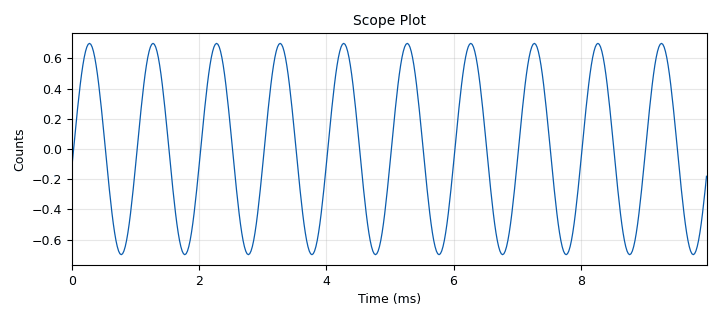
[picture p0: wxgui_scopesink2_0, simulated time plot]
<?xml version='1.0' encoding='utf-8'?>
<flow_graph>
<block>
<key>options</key>
<param><key>id</key><value>top_block</value></param>
<param><key>generate_options</key><value>wx_gui</value></param>
<param><key>category</key><value>Custom</value></param>
</block>
<block>
<key>variable</key>
<param><key>id</key><value>samp_rate</value></param>
<param><key>value</key><value>48000</value></param>
</block>
<block>
<key>variable_slider</key>
<param><key>id</key><value>freq</value></param>
<param><key>label</key><value>Frequency</value></param>
<param><key>value</key><value>1000</value></param>
<param><key>min</key><value>0</value></param>
<param><key>max</key><value>16e3</value></param>
<param><key>num_steps</key><value>1000</value></param>
<param><key>style</key><value>wx.SL_HORIZONTAL</value></param>
<param><key>converver</key><value>float_converter</value></param>
</block>
<block>
<key>analog_noise_source_x</key>
<param><key>id</key><value>analog_noise_source_x_0</value></param>
<param><key>_enabled</key><value>False</value></param>
<param><key>type</key><value>float</value></param>
<param><key>noise_type</key><value>analog.GR_GAUSSIAN</value></param>
<param><key>amp</key><value>700e-3</value></param>
<param><key>seed</key><value>0</value></param>
</block>
<block>
<key>analog_sig_source_x</key>
<param><key>id</key><value>analog_sig_source_x_0</value></param>
<param><key>type</key><value>float</value></param>
<param><key>samp_rate</key><value>samp_rate</value></param>
<param><key>waveform</key><value>analog.GR_COS_WAVE</value></param>
<param><key>freq</key><value>freq</value></param>
<param><key>amp</key><value>0.7</value></param>
<param><key>offset</key><value>0</value></param>
</block>
<block>
<key>audio_source</key>
<param><key>id</key><value>audio_source_0</value></param>
<param><key>samp_rate</key><value>samp_rate</value></param>
</block>
<block>
<key>wxgui_fftsink2</key>
<param><key>id</key><value>wxgui_fftsink2_0</value></param>
<param><key>_enabled</key><value>False</value></param>
<param><key>type</key><value>float</value></param>
<param><key>title</key><value>FFT Plot</value></param>
<param><key>samp_rate</key><value>samp_rate</value></param>
<param><key>baseband_freq</key><value>0</value></param>
<param><key>y_per_div</key><value>10</value></param>
<param><key>y_divs</key><value>10</value></param>
<param><key>ref_level</key><value>0</value></param>
<param><key>ref_scale</key><value>2.0</value></param>
<param><key>fft_size</key><value>1024</value></param>
<param><key>fft_rate</key><value>15</value></param>
<param><key>peak_hold</key><value>False</value></param>
<param><key>average</key><value>False</value></param>
<param><key>avg_alpha</key><value>0</value></param>
<param><key>win</key><value>None</value></param>
<param><key>freqvar</key><value>None</value></param>
</block>
<block>
<key>audio_sink</key>
<param><key>id</key><value>audio_sink_0</value></param>
<param><key>samp_rate</key><value>samp_rate</value></param>
</block>
<block>
<key>wxgui_scopesink2</key>
<param><key>id</key><value>wxgui_scopesink2_0</value></param>
<param><key>type</key><value>float</value></param>
<param><key>title</key><value>Scope Plot</value></param>
<param><key>samp_rate</key><value>samp_rate</value></param>
<param><key>v_scale</key><value>0</value></param>
<param><key>v_offset</key><value>0</value></param>
<param><key>t_scale</key><value>0</value></param>
<param><key>ac_couple</key><value>False</value></param>
<param><key>xy_mode</key><value>False</value></param>
<param><key>num_inputs</key><value>1</value></param>
<param><key>trig_mode</key><value>wxgui.TRIG_MODE_AUTO</value></param>
<param><key>y_axis_label</key><value>Counts</value></param>
</block>
<block>
<key>wxgui_scopesink2</key>
<param><key>id</key><value>wxgui_scopesink2_0_0</value></param>
<param><key>_enabled</key><value>False</value></param>
<param><key>type</key><value>float</value></param>
<param><key>title</key><value>Scope Plot</value></param>
<param><key>samp_rate</key><value>samp_rate</value></param>
<param><key>v_scale</key><value>0.5</value></param>
<param><key>v_offset</key><value>0</value></param>
<param><key>t_scale</key><value>0</value></param>
<param><key>ac_couple</key><value>False</value></param>
<param><key>xy_mode</key><value>False</value></param>
<param><key>num_inputs</key><value>1</value></param>
<param><key>trig_mode</key><value>wxgui.TRIG_MODE_AUTO</value></param>
<param><key>y_axis_label</key><value>Counts</value></param>
</block>
<block>
<key>wxgui_waterfallsink2</key>
<param><key>id</key><value>wxgui_waterfallsink2_0</value></param>
<param><key>type</key><value>float</value></param>
<param><key>title</key><value>Waterfall Plot</value></param>
<param><key>samp_rate</key><value>samp_rate</value></param>
<param><key>baseband_freq</key><value>0</value></param>
<param><key>dynamic_range</key><value>100</value></param>
<param><key>ref_level</key><value>0</value></param>
<param><key>ref_scale</key><value>2.0</value></param>
<param><key>fft_size</key><value>512</value></param>
<param><key>fft_rate</key><value>15</value></param>
<param><key>average</key><value>False</value></param>
<param><key>avg_alpha</key><value>0</value></param>
<param><key>win</key><value>None</value></param>
<param><key>freqvar</key><value>None</value></param>
</block>
<connection><source_block_id>analog_noise_source_x_0</source_block_id><sink_block_id>audio_sink_0</sink_block_id><source_key>0</source_key><sink_key>0</sink_key></connection>
<connection><source_block_id>analog_sig_source_x_0</source_block_id><sink_block_id>wxgui_scopesink2_0</sink_block_id><source_key>0</source_key><sink_key>0</sink_key></connection>
<connection><source_block_id>analog_sig_source_x_0</source_block_id><sink_block_id>audio_sink_0</sink_block_id><source_key>0</source_key><sink_key>0</sink_key></connection>
<connection><source_block_id>audio_source_0</source_block_id><sink_block_id>wxgui_fftsink2_0</sink_block_id><source_key>0</source_key><sink_key>0</sink_key></connection>
<connection><source_block_id>audio_source_0</source_block_id><sink_block_id>wxgui_scopesink2_0_0</sink_block_id><source_key>0</source_key><sink_key>0</sink_key></connection>
<connection><source_block_id>audio_source_0</source_block_id><sink_block_id>wxgui_waterfallsink2_0</sink_block_id><source_key>0</source_key><sink_key>0</sink_key></connection>
</flow_graph>
